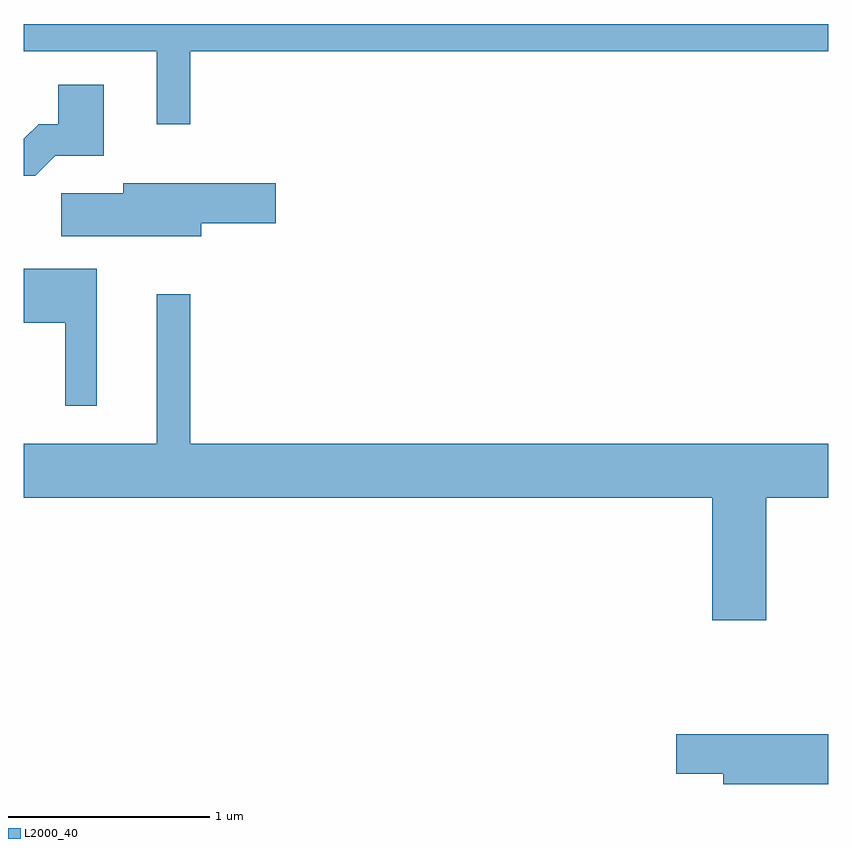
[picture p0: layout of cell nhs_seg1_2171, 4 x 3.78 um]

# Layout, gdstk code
import gdstk
lib = gdstk.Library(unit=1e-6, precision=1e-09)
def P(c, l, *ps):  # polygons
    for p in ps: c.add(gdstk.Polygon(p, *l))
L2000_40 = (2000, 40)

nhs_seg1_2171 = lib.new_cell('nhs_seg1_2171')
P(nhs_seg1_2171, L2000_40, [(252.439,899.576),(255.611,899.576),(255.611,899.712),(251.611,899.712),(251.611,899.576),(252.271,899.576),(252.271,899.213),(252.439,899.213)],
  [(251.767,899.056),(252.009,899.056),(252.009,899.409),(251.781,899.409),(251.781,899.214),(251.684,899.214),(251.611,899.141),(251.611,898.956),(251.667,898.956)],
  [(252.494,898.721),(252.864,898.721),(252.864,898.919),(252.106,898.919),(252.106,898.869),(251.796,898.869),(251.796,898.656),(252.494,898.656)],
  [(251.974,898.494),(251.611,898.494),(251.611,898.226),(251.816,898.226),(251.816,897.813),(251.974,897.813)],
  [(255.304,897.356),(255.611,897.356),(255.611,897.624),(252.439,897.624),(252.439,898.368),(252.271,898.368),(252.271,897.624),(251.611,897.624),(251.611,897.356),(255.036,897.356),(255.036,896.746),(255.304,896.746)],
  [(255.611,896.179),(254.856,896.179),(254.856,895.981),(255.091,895.981),(255.091,895.931),(255.611,895.931)])

lib.write_gds('nhs_seg1_2171.gds')
